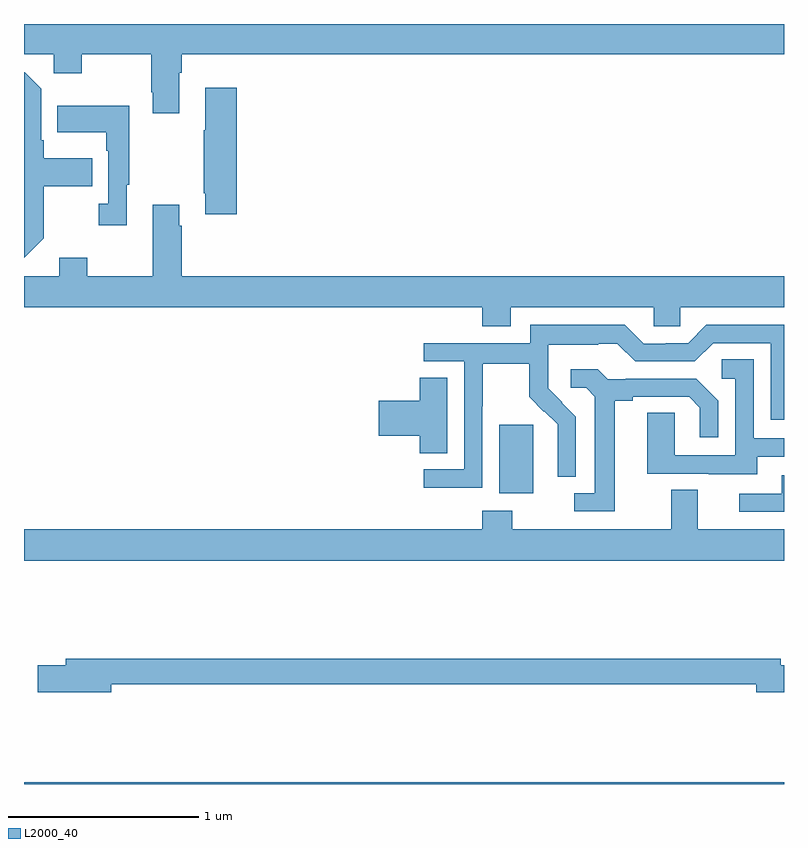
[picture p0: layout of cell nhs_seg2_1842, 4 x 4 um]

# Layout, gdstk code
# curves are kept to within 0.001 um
import gdstk
lib = gdstk.Library(unit=1e-6, precision=1e-09)
def R(c, l, rs):  # rectangles x0, y0, x1, y1
    for r in rs: c.add(gdstk.rectangle(r[:2], r[2:], *l))
def P(c, l, *ps):  # polygons
    for p in ps: c.add(gdstk.Polygon(p, *l))
L2000_40 = (2000, 40)

nhs_seg2_1842 = lib.new_cell('nhs_seg2_1842')
R(nhs_seg2_1842, L2000_40, [(207,639.8,211,639.808), (209.501,641.33,209.68,641.691)])
P(nhs_seg2_1842, L2000_40, [(207.817,643.544),(207.83,643.544),(207.83,643.64),(211,643.64),(211,643.8),(207,643.8),(207,643.64),(207.156,643.64),(207.156,643.541),(207.303,643.541),(207.303,643.64),(207.67,643.64),(207.67,643.441),(207.677,643.441),(207.677,643.329),(207.817,643.329)],
  [(207.103,642.673),(207.103,642.946),(207.359,642.946),(207.359,643.093),(207.103,643.093),(207.103,643.189),(207.09,643.189),(207.09,643.458),(207.003,643.545),(207,643.545),(207,642.57)],
  [(208.121,643.465),(207.953,643.465),(207.953,643.241),(207.946,643.241),(207.946,642.91),(207.953,642.91),(207.953,642.798),(208.121,642.798)],
  [(207.541,642.953),(207.553,642.953),(207.553,643.369),(207.175,643.369),(207.175,643.229),(207.432,643.229),(207.432,643.133),(207.444,643.133),(207.444,642.854),(207.393,642.854),(207.393,642.741),(207.541,642.741)],
  [(209.563,642.308),(210.315,642.308),(210.315,642.21),(210.453,642.21),(210.453,642.308),(211,642.308),(211,642.472),(207.83,642.472),(207.83,642.737),(207.817,642.737),(207.817,642.85),(207.677,642.85),(207.677,642.472),(207.333,642.472),(207.333,642.571),(207.185,642.571),(207.185,642.472),(207,642.472),(207,642.308),(209.411,642.308),(209.411,642.209),(209.563,642.209)],
  [(209.412,641.788),(209.415,641.788),(209.415,642.012),(209.659,642.012),(209.659,641.837),(209.736,641.76),(209.739,641.763),(209.81,641.693),(209.81,641.57),(209.808,641.57),(209.808,641.416),(209.904,641.416),(209.904,641.734),(209.758,641.882),(209.758,641.979),(209.76,641.979),(209.76,642.113),(210.023,642.113),(210.023,642.117),(210.123,642.117),(210.216,642.024),(210.531,642.024),(210.627,642.12),(210.93,642.12),(210.93,641.718),(211,641.718),(211,642.216),(210.591,642.216),(210.495,642.12),(210.377,642.12),(210.377,642.117),(210.261,642.117),(210.161,642.217),(209.664,642.217),(209.664,642.12),(209.103,642.12),(209.103,642.024),(209.316,642.024),(209.316,641.457),(209.103,641.457),(209.103,641.359),(209.412,641.359)],
  [(210.859,641.523),(211,641.523),(211,641.619),(210.84,641.619),(210.84,642.035),(210.672,642.035),(210.672,641.934),(210.744,641.934),(210.744,641.529),(210.426,641.529),(210.426,641.753),(210.281,641.753),(210.281,641.433),(210.605,641.433),(210.605,641.429),(210.859,641.429)],
  [(210.109,641.816),(210.205,641.816),(210.205,641.838),(210.5,641.838),(210.557,641.781),(210.557,641.625),(210.654,641.625),(210.654,641.818),(210.538,641.934),(210.166,641.934),(210.166,641.931),(210.072,641.931),(210.02,641.983),(209.877,641.983),(209.877,641.886),(209.958,641.886),(210.005,641.839),(210.005,641.331),(209.895,641.331),(209.895,641.235),(210.109,641.235)],
  [(209.227,641.939),(209.084,641.939),(209.084,641.816),(208.866,641.816),(208.866,641.633),(209.084,641.633),(209.084,641.542),(209.227,641.542)],
  [(211,641.424),(210.989,641.424),(210.989,641.328),(210.765,641.328),(210.765,641.232),(211,641.232)],
  [(211,641.14),(210.547,641.14),(210.547,641.348),(210.407,641.348),(210.407,641.14),(209.571,641.14),(209.571,641.239),(209.411,641.239),(209.411,641.14),(207,641.14),(207,640.976),(211,640.976)],
  [(207.46,640.324),(210.854,640.324),(210.854,640.282),(211,640.282),(211,640.424),(210.982,640.424),(210.982,640.46),(207.221,640.46),(207.221,640.424),(207.072,640.424),(207.072,640.282),(207.46,640.282)])

lib.write_gds('nhs_seg2_1842.gds')
